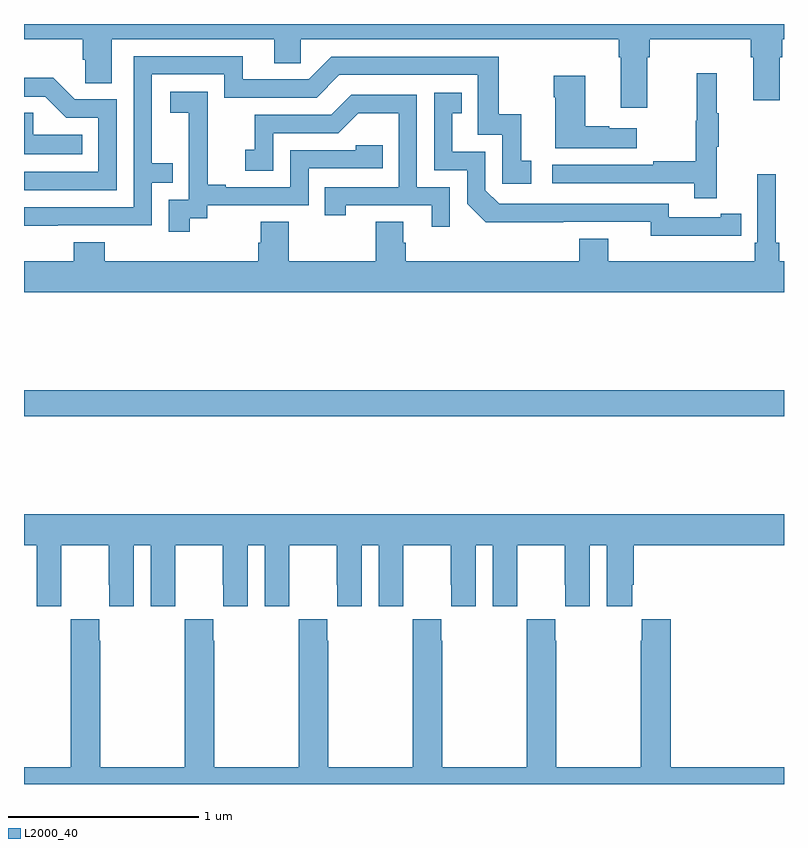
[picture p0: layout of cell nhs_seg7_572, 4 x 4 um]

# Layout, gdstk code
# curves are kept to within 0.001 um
import gdstk
lib = gdstk.Library(unit=1e-6, precision=1e-09)
def R(c, l, rs):  # rectangles x0, y0, x1, y1
    for r in rs: c.add(gdstk.rectangle(r[:2], r[2:], *l))
def P(c, l, *ps):  # polygons
    for p in ps: c.add(gdstk.Polygon(p, *l))
L2000_40 = (2000, 40)

nhs_seg7_572 = lib.new_cell('nhs_seg7_572')
R(nhs_seg7_572, L2000_40, [(155,1027.936,159,1028.072)])
P(nhs_seg7_572, L2000_40, [(158.281,1029.824),(158.294,1029.824),(158.294,1029.92),(158.825,1029.92),(158.825,1029.824),(158.837,1029.824),(158.837,1029.6),(158.977,1029.6),(158.977,1029.824),(158.99,1029.824),(158.99,1029.92),(159,1029.92),(159,1030),(155,1030),(155,1029.92),(155.309,1029.92),(155.309,1029.811),(155.322,1029.811),(155.322,1029.688),(155.461,1029.688),(155.461,1029.92),(156.317,1029.92),(156.317,1029.793),(156.456,1029.793),(156.456,1029.92),(158.129,1029.92),(158.129,1029.824),(158.141,1029.824),(158.141,1029.558),(158.281,1029.558)],
  [(155.177,1028.94),(155.673,1028.94),(155.673,1029.165),(155.783,1029.165),(155.783,1029.266),(155.673,1029.266),(155.673,1029.735),(156.054,1029.735),(156.054,1029.612),(156.54,1029.612),(156.66,1029.732),(157.389,1029.732),(157.389,1029.417),(157.518,1029.417),(157.518,1029.159),(157.669,1029.159),(157.669,1029.279),(157.616,1029.279),(157.616,1029.526),(157.498,1029.526),(157.498,1029.828),(156.618,1029.828),(156.498,1029.708),(156.151,1029.708),(156.151,1029.831),(155.577,1029.831),(155.577,1029.036),(155,1029.036),(155,1028.939)],
  [(158.645,1029.355),(158.656,1029.355),(158.656,1029.529),(158.645,1029.529),(158.645,1029.742),(158.542,1029.742),(158.542,1029.492),(158.535,1029.492),(158.535,1029.278),(158.311,1029.278),(158.311,1029.258),(157.779,1029.258),(157.779,1029.162),(158.527,1029.162),(158.527,1029.084),(158.645,1029.084)],
  [(158.224,1029.451),(158.081,1029.451),(158.081,1029.461),(157.954,1029.461),(157.954,1029.727),(157.789,1029.727),(157.789,1029.614),(157.796,1029.614),(157.796,1029.347),(158.224,1029.347)],
  [(155.487,1029.603),(155.268,1029.603),(155.155,1029.716),(155,1029.716),(155,1029.618),(155.111,1029.618),(155.222,1029.507),(155.391,1029.507),(155.391,1029.222),(155,1029.222),(155,1029.126),(155.487,1029.126)],
  [(155.872,1028.977),(155.964,1028.977),(155.964,1029.045),(156.498,1029.045),(156.498,1029.24),(156.887,1029.24),(156.887,1029.363),(156.747,1029.363),(156.747,1029.336),(156.402,1029.336),(156.402,1029.141),(156.061,1029.141),(156.061,1029.154),(155.966,1029.154),(155.966,1029.437),(155.967,1029.437),(155.967,1029.643),(155.769,1029.643),(155.769,1029.533),(155.867,1029.533),(155.867,1029.305),(155.868,1029.305),(155.868,1029.075),(155.763,1029.075),(155.763,1028.907),(155.872,1028.907)],
  [(158.666,1028.886),(158.774,1028.886),(158.774,1029.002),(158.666,1029.002),(158.666,1028.982),(158.394,1028.982),(158.394,1029.054),(157.5,1029.054),(157.428,1029.126),(157.428,1029.327),(157.255,1029.327),(157.255,1029.531),(157.304,1029.531),(157.304,1029.637),(157.158,1029.637),(157.158,1029.231),(157.332,1029.231),(157.332,1029.054),(157.43,1028.957),(158.298,1028.958),(158.298,1028.885)],
  [(157.242,1029.141),(157.068,1029.141),(157.068,1029.627),(156.722,1029.627),(156.617,1029.522),(156.214,1029.522),(156.214,1029.337),(156.165,1029.337),(156.165,1029.228),(156.312,1029.228),(156.312,1029.426),(156.654,1029.426),(156.758,1029.53),(156.972,1029.53),(156.972,1029.141),(156.583,1029.141),(156.583,1028.994),(156.694,1028.994),(156.694,1029.045),(157.145,1029.045),(157.145,1028.934),(157.242,1028.934)],
  [(155.306,1029.418),(155.049,1029.418),(155.049,1029.533),(155,1029.533),(155,1029.314),(155.306,1029.314)],
  [(159,1028.752),(158.975,1028.752),(158.975,1028.848),(158.956,1028.848),(158.956,1029.208),(158.859,1029.208),(158.859,1028.848),(158.846,1028.848),(158.846,1028.752),(158.074,1028.752),(158.074,1028.869),(157.922,1028.869),(157.922,1028.752),(157.01,1028.752),(157.01,1028.85),(156.997,1028.85),(156.997,1028.96),(156.85,1028.96),(156.85,1028.752),(156.393,1028.752),(156.393,1028.96),(156.245,1028.96),(156.245,1028.85),(156.233,1028.85),(156.233,1028.752),(155.426,1028.752),(155.426,1028.851),(155.261,1028.851),(155.261,1028.752),(155,1028.752),(155,1028.588),(159,1028.588)],
  [(155,1027.256),(155.066,1027.256),(155.066,1026.936),(155.196,1026.936),(155.196,1027.048),(155.197,1027.048),(155.197,1027.256),(155.447,1027.256),(155.447,1027.048),(155.448,1027.048),(155.448,1026.936),(155.578,1026.936),(155.578,1027.256),(155.666,1027.256),(155.666,1026.936),(155.796,1026.936),(155.796,1027.048),(155.797,1027.048),(155.797,1027.256),(156.047,1027.256),(156.047,1027.048),(156.048,1027.048),(156.048,1026.936),(156.178,1026.936),(156.178,1027.256),(156.266,1027.256),(156.266,1026.936),(156.396,1026.936),(156.396,1027.048),(156.397,1027.048),(156.397,1027.256),(156.647,1027.256),(156.647,1027.048),(156.648,1027.048),(156.648,1026.936),(156.778,1026.936),(156.778,1027.256),(156.866,1027.256),(156.866,1026.936),(156.996,1026.936),(156.996,1027.048),(156.997,1027.048),(156.997,1027.256),(157.247,1027.256),(157.247,1027.048),(157.248,1027.048),(157.248,1026.936),(157.378,1026.936),(157.378,1027.256),(157.466,1027.256),(157.466,1026.936),(157.596,1026.936),(157.596,1027.048),(157.597,1027.048),(157.597,1027.256),(157.847,1027.256),(157.847,1027.048),(157.848,1027.048),(157.848,1026.936),(157.978,1026.936),(157.978,1027.256),(158.066,1027.256),(158.066,1026.936),(158.2,1026.936),(158.2,1027.048),(158.21,1027.048),(158.21,1027.256),(159,1027.256),(159,1027.42),(155,1027.42)],
  [(159,1026.088),(158.405,1026.088),(158.405,1026.868),(158.251,1026.868),(158.251,1026.755),(158.245,1026.755),(158.245,1026.088),(157.8,1026.088),(157.8,1026.755),(157.797,1026.755),(157.797,1026.868),(157.647,1026.868),(157.647,1026.755),(157.645,1026.755),(157.645,1026.088),(157.2,1026.088),(157.2,1026.755),(157.197,1026.755),(157.197,1026.868),(157.047,1026.868),(157.047,1026.755),(157.045,1026.755),(157.045,1026.088),(156.6,1026.088),(156.6,1026.755),(156.597,1026.755),(156.597,1026.868),(156.447,1026.868),(156.447,1026.755),(156.445,1026.755),(156.445,1026.088),(156,1026.088),(156,1026.755),(155.997,1026.755),(155.997,1026.868),(155.847,1026.868),(155.847,1026.755),(155.845,1026.755),(155.845,1026.088),(155.4,1026.088),(155.4,1026.755),(155.397,1026.755),(155.397,1026.868),(155.247,1026.868),(155.247,1026.755),(155.245,1026.755),(155.245,1026.088),(155,1026.088),(155,1026),(159,1026)])

lib.write_gds('nhs_seg7_572.gds')
